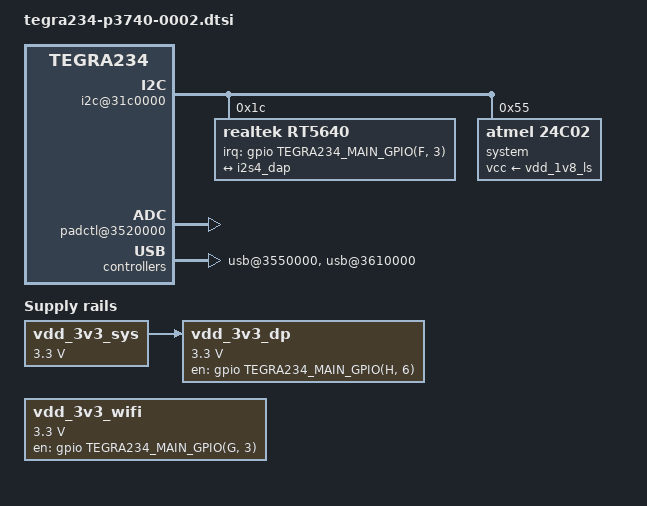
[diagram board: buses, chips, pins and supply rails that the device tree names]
// SPDX-License-Identifier: GPL-2.0

#include <dt-bindings/sound/rt5640.h>

/ {
	compatible = "nvidia,p3740-0002";

	bus@0 {
		aconnect@2900000 {
			ahub@2900800 {
				i2s@2901300 {
					ports {
						port@1 {
							endpoint {
								dai-format = "i2s";
								remote-endpoint = <&rt5640_ep>;
							};
						};
					};
				};

				i2s@2901500 {
					ports {
						port@1 {
							endpoint {
								bitclock-master;
								frame-master;
							};
						};
					};
				};
			};
		};

		i2c@31c0000 {
			rt5640: audio-codec@1c {
				compatible = "realtek,rt5640";
				reg = <0x1c>;
				interrupt-parent = <&gpio>;
				interrupts = <TEGRA234_MAIN_GPIO(F, 3) GPIO_ACTIVE_HIGH>;
				clocks = <&bpmp TEGRA234_CLK_AUD_MCLK>;
				clock-names = "mclk";

				realtek,dmic1-data-pin = <RT5640_DMIC1_DATA_PIN_NONE>;
				realtek,dmic2-data-pin = <RT5640_DMIC2_DATA_PIN_NONE>;
				realtek,jack-detect-source = <RT5640_JD_SRC_HDA_HEADER>;

				sound-name-prefix = "CVB-RT";

				port {
					rt5640_ep: endpoint {
						remote-endpoint = <&i2s4_dap>;
						mclk-fs = <256>;
					};
				};
			};

			/* carrier board ID EEPROM */
			eeprom@55 {
				compatible = "atmel,24c02";
				reg = <0x55>;

				label = "system";
				vcc-supply = <&vdd_1v8_ls>;
				address-width = <8>;
				pagesize = <8>;
				size = <256>;
				read-only;
			};
		};

		padctl@3520000 {
			vclamp-usb-supply = <&vdd_1v8_ao>;
			avdd-usb-supply = <&vdd_3v3_ao>;
			status = "okay";

			pads {
				usb2 {
					lanes {
						usb2-0 {
							nvidia,function = "xusb";
							status = "okay";
						};

						usb2-1 {
							nvidia,function = "xusb";
							status = "okay";
						};

						usb2-2 {
							nvidia,function = "xusb";
							status = "okay";
						};

						usb2-3 {
							nvidia,function = "xusb";
							status = "okay";
						};
					};
				};

				usb3 {
					lanes {
						usb3-0 {
							nvidia,function = "xusb";
							status = "okay";
						};

						usb3-1 {
							nvidia,function = "xusb";
							status = "okay";
						};

						usb3-2 {
							nvidia,function = "xusb";
							status = "okay";
						};
					};
				};
			};

			ports {
				usb2-0 {
					mode = "otg";
					usb-role-switch;
					status = "okay";
					vbus-supply = <&vdd_5v0_sys>;
				};

				usb2-1 {
					mode = "host";
					status = "okay";
					vbus-supply = <&vdd_5v0_sys>;
				};

				usb2-2 {
					mode = "host";
					status = "okay";
					vbus-supply = <&vdd_5v0_sys>;
				};

				usb2-3 {
					mode = "host";
					status = "okay";
					vbus-supply = <&vdd_5v0_sys>;
				};

				usb3-0 {
					nvidia,usb2-companion = <2>;
					status = "okay";
				};

				usb3-1 {
					nvidia,usb2-companion = <0>;
					status = "okay";
				};

				usb3-2 {
					nvidia,usb2-companion = <1>;
					status = "okay";
				};
			};
		};

		usb@3550000 {
			status = "okay";

			phys = <&{/bus@0/padctl@3520000/pads/usb2/lanes/usb2-0}>,
				<&{/bus@0/padctl@3520000/pads/usb3/lanes/usb3-1}>;
			phy-names = "usb2-0", "usb3-0";
		};

		usb@3610000 {
			status = "okay";

			phys =	<&{/bus@0/padctl@3520000/pads/usb2/lanes/usb2-0}>,
				<&{/bus@0/padctl@3520000/pads/usb2/lanes/usb2-1}>,
				<&{/bus@0/padctl@3520000/pads/usb2/lanes/usb2-2}>,
				<&{/bus@0/padctl@3520000/pads/usb2/lanes/usb2-3}>,
				<&{/bus@0/padctl@3520000/pads/usb3/lanes/usb3-0}>,
				<&{/bus@0/padctl@3520000/pads/usb3/lanes/usb3-1}>,
				<&{/bus@0/padctl@3520000/pads/usb3/lanes/usb3-2}>;
			phy-names = "usb2-0", "usb2-1", "usb2-2", "usb2-3",
				"usb3-0", "usb3-1", "usb3-2";
		};
	};

	vdd_3v3_dp: regulator-vdd-3v3-dp {
				compatible = "regulator-fixed";
				regulator-name = "VDD_3V3_DP";
				regulator-min-microvolt = <3300000>;
				regulator-max-microvolt = <3300000>;
				vin-supply = <&vdd_3v3_sys>;
				gpio = <&gpio TEGRA234_MAIN_GPIO(H, 6) 0>;
				enable-active-high;
				regulator-always-on;
	};

	vdd_3v3_sys: regulator-vdd-3v3-sys {
				compatible = "regulator-fixed";
				regulator-name = "VDD_3V3_SYS";
				regulator-min-microvolt = <3300000>;
				regulator-max-microvolt = <3300000>;
	};

	vdd_3v3_wifi: regulator-vdd-3v3-wifi {
				compatible = "regulator-fixed";
				regulator-name = "VDD_3V3_WIFI";
				regulator-min-microvolt = <3300000>;
				regulator-max-microvolt = <3300000>;
				gpio = <&gpio TEGRA234_MAIN_GPIO(G, 3) GPIO_ACTIVE_HIGH>;
				regulator-boot-on;
				enable-active-high;
	};
};
